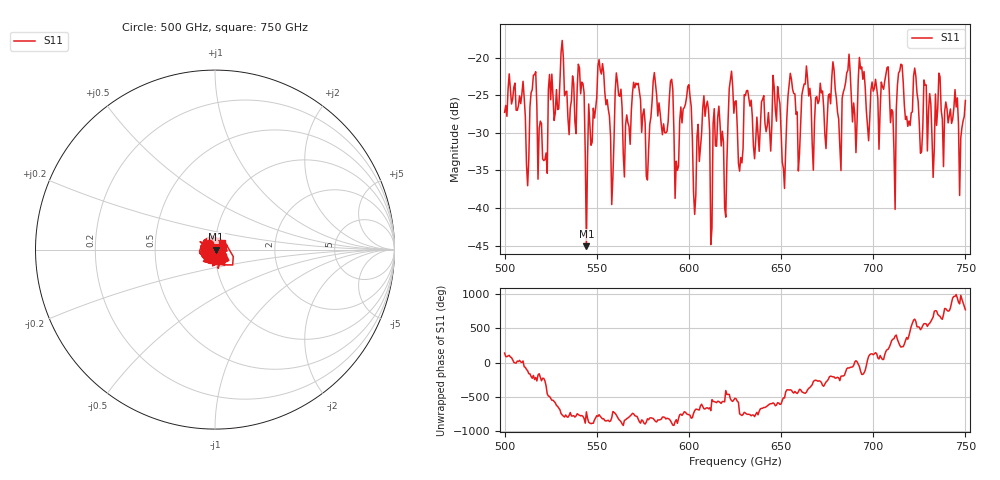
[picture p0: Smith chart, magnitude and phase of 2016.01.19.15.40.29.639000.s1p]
!Created with skrf (http://scikit-rf.org).
# GHz S RI R 50.0
!freq ReS11 ImS11
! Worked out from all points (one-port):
!   401 points, 500 GHz to 750 GHz, reference 50 ohm
!   lowest |S11| = -45.1 dB at 544.4 GHz (marker M1), VSWR 1.01, Z = 50.6 + j0.0393 ohm
!   |S11| at or under -10 dB: start of sweep to end of sweep
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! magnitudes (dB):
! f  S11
! 500 GHz  -27.3
! 512.5 GHz  -37.0
! 515.6 GHz  -22.3
! 521.9 GHz  -33.5
! 531.2 GHz  -17.7
! 541.2 GHz  -24.8
! 544.4 GHz  -45.1
! 551.9 GHz  -21.6
! 558.1 GHz  -39.5
! 562.5 GHz  -25.1
! 577.5 GHz  -36.3
! 590 GHz  -23.1
! 593.8 GHz  -35.0
! 599.4 GHz  -23.8
! 603.1 GHz  -40.9
! 608.8 GHz  -27.8
! 619.4 GHz  -40.0
! 625 GHz  -25.8
! 628.1 GHz  -33.3
! 631.2 GHz  -24.4
! 646.9 GHz  -26.9
! 651.2 GHz  -34.7
! 656.2 GHz  -24.2
! 659.4 GHz  -35.1
! 663.1 GHz  -23.5
! 687.5 GHz  -22.0
! 718.8 GHz  -29.1
! 750 GHz  -25.7
